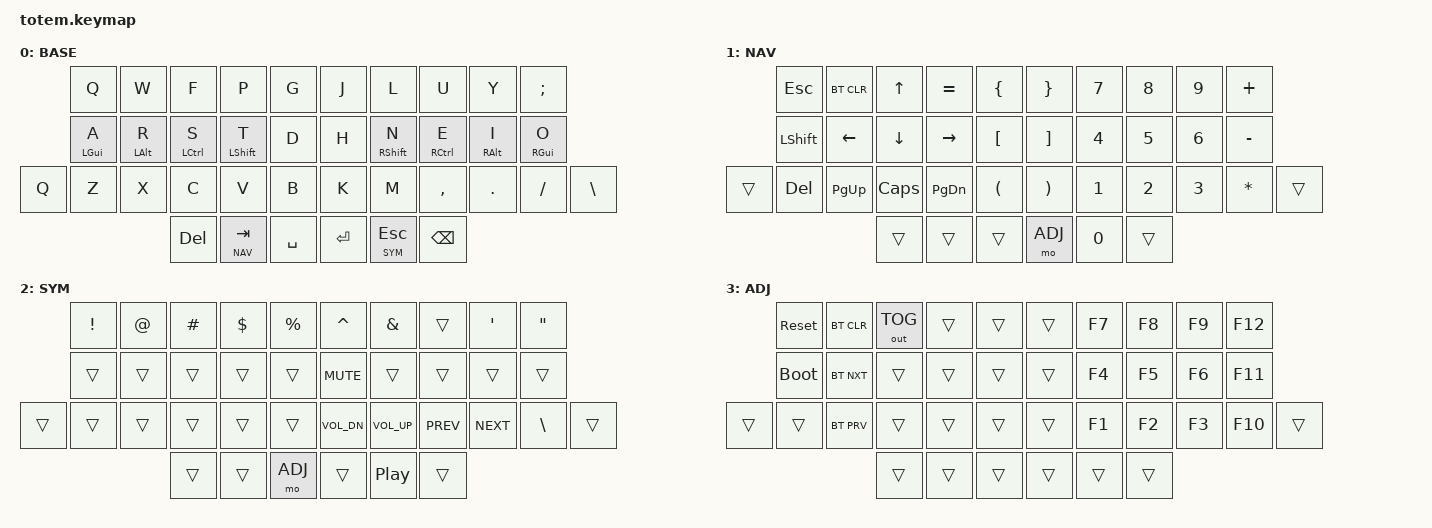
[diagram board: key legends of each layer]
/*
 * Stock Totem keymap (GEIGEIGEIST layout: BASE / NAV / SYM / ADJ).
 * Do not #undef ZMK_BEHAVIORS_KEEP_ALL — the Studio snippet sets it so the
 * palette includes &bootloader and the rest. Stripping that is why a Studio
 * pinky→bootloader binding died after the last flash.
 */
#include <behaviors.dtsi>
#include <dt-bindings/zmk/keys.h>
#include <dt-bindings/zmk/bt.h>
#include <dt-bindings/zmk/outputs.h>

#define BASE 0
#define NAV  1
#define SYM  2
#define ADJ  3

&mt {
    flavor = "tap-preferred";
    tapping-term-ms = <170>;
    quick-tap-ms = <100>;
};

/ {
    combos {
        compatible = "zmk,combos";
        combo_esc {
            timeout-ms = <50>;
            key-positions = <0 1>;
            bindings = <&kp ESC>;
        };
#ifdef CONFIG_ZMK_STUDIO
        combo_studio_unlock {
            timeout-ms = <80>;
            key-positions = <0 4>;
            bindings = <&studio_unlock>;
        };
#endif
    };

    keymap {
        compatible = "zmk,keymap";

        base_layer {
            display-name = "BASE";
            bindings = <
                &kp Q           &kp W           &kp F           &kp P           &kp G               &kp J           &kp L           &kp U           &kp Y           &kp SEMI
                &mt LGUI A      &mt LALT R      &mt LCTRL S     &mt LSHFT T     &kp D               &kp H           &mt RSHFT N     &mt RCTRL E     &mt RALT I      &mt RGUI O
     &kp Q      &kp Z           &kp X           &kp C           &kp V           &kp B               &kp K           &kp M           &kp COMMA       &kp DOT         &kp FSLH        &kp BSLH
                                         &kp DEL         &lt NAV TAB         &kp SPACE       &kp RET         &lt SYM ESC     &kp BSPC
            >;
        };

        nav_layer {
            display-name = "NAV";
            bindings = <
                &kp ESC         &bt BT_CLR      &kp UP          &kp EQUAL       &kp LBRC            &kp RBRC        &kp N7          &kp N8          &kp N9          &kp PLUS
                &kp LSHFT       &kp LEFT        &kp DOWN        &kp RIGHT       &kp LBKT            &kp RBKT        &kp N4          &kp N5          &kp N6          &kp MINUS
                &trans          &kp DEL         &kp PG_UP       &kp CAPS        &kp PG_DN           &kp LPAR        &kp RPAR        &kp N1          &kp N2          &kp N3          &kp STAR        &trans
                                                                &trans          &trans              &trans          &mo ADJ         &kp N0          &trans
            >;
        };

        sym_layer {
            display-name = "SYM";
            bindings = <
                &kp EXCL        &kp AT          &kp HASH        &kp DLLR        &kp PRCNT           &kp CARET       &kp AMPS        &trans          &kp SQT         &kp DQT
                &trans          &trans          &trans          &trans          &trans              &kp C_MUTE      &trans          &trans          &trans          &trans
                &trans          &trans          &trans          &trans          &trans              &trans          &kp C_VOL_DN    &kp C_VOL_UP    &kp C_PREV      &kp C_NEXT      &kp BSLH        &trans
                                                                &trans          &trans              &mo ADJ         &trans          &kp C_PP        &trans
            >;
        };

        adj_layer {
            display-name = "ADJ";
            bindings = <
                &sys_reset      &bt BT_CLR      &out OUT_TOG    &trans          &trans              &trans          &kp F7          &kp F8          &kp F9          &kp F12
                &bootloader     &bt BT_NXT      &trans          &trans          &trans              &trans          &kp F4          &kp F5          &kp F6          &kp F11
                &trans          &trans          &bt BT_PRV      &trans          &trans              &trans          &trans          &kp F1          &kp F2          &kp F3          &kp F10         &trans
                                                                &trans          &trans              &trans          &trans          &trans          &trans
            >;
        };
    };
};
